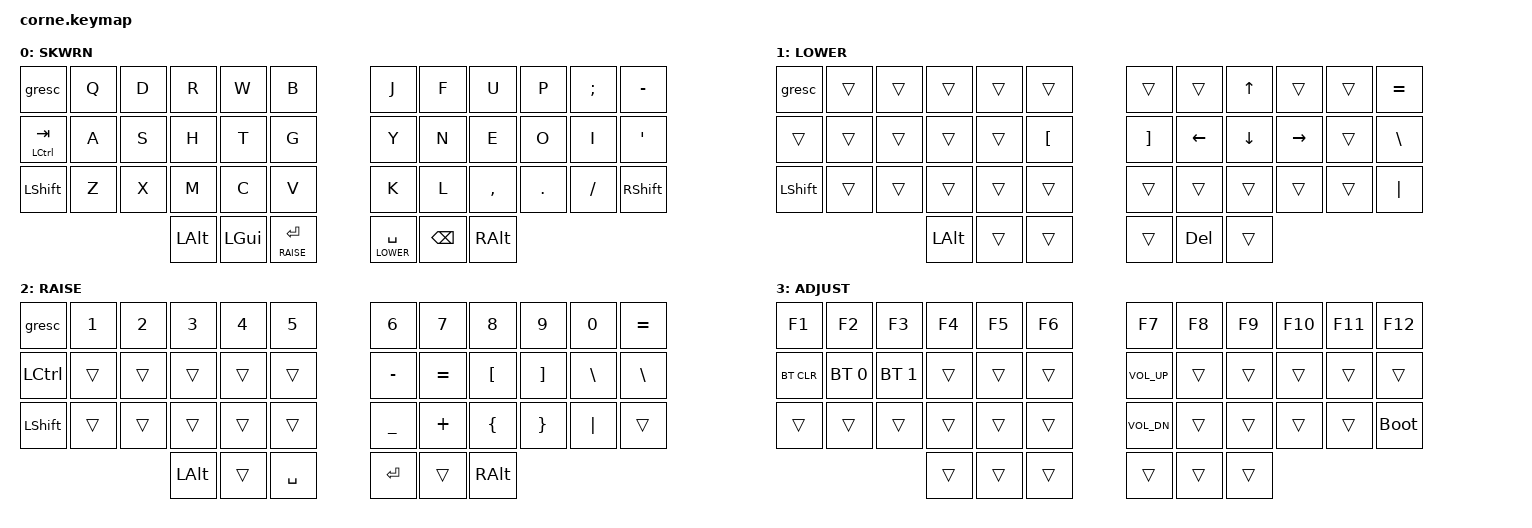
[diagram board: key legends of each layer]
/*
 * Copyright (c) 2020 The ZMK Contributors
 *
 * SPDX-License-Identifier: MIT
 */

#include <behaviors.dtsi>
#include <dt-bindings/zmk/keys.h>
#include <dt-bindings/zmk/bt.h>

#define SKWRN 0
#define LOWER   1
#define RAISE   2
#define ADJUST  3

&lt {
    quick_tap_ms = <200>;
};

/ {
        keymap {
                compatible = "zmk,keymap";

                default_layer {
                        label = "SKWRN";
                        bindings = <
   &gresc   &kp Q &kp D &kp R &kp W &kp B        &kp J &kp F  &kp U     &kp P   &kp SEMI    &kp MINUS
   &mt LCTRL TAB &kp A &kp S &kp H &kp T &kp G   &kp Y &kp N  &kp E  &kp O   &kp I &kp SQT
   &kp LSHFT &kp Z &kp X &kp M &kp C &kp V       &kp K &kp L  &kp COMMA &kp DOT &kp FSLH &kp RSHFT
                &kp LALT   &kp LGUI  &lt RAISE RET    &lt LOWER SPACE  &kp BSPC  &kp RALT
                        >;
                };
                lower_layer {
                        label = "LOWER";
                        bindings = <
   &gresc    &trans       &trans       &trans       &trans       &trans         &trans   &trans   &kp UP   &trans    &trans &kp EQUAL
   &trans &trans &trans &trans &trans &kp LBKT                                &kp RBKT &kp LEFT &kp DOWN &kp RIGHT &trans &kp BSLH
   &kp LSHFT  &trans       &trans       &trans       &trans       &trans          &trans   &trans   &trans &trans    &trans &kp PIPE
                          	        &kp LALT     &trans       &trans      &trans  &kp DEL   &trans
                        >;
                };

                raise_layer {
                        label = "RAISE";
                        bindings = <
   &gresc    &kp N1       &kp N2       &kp N3       &kp N4       &kp N5         &kp N6   &kp N7   &kp N8 &kp N9    &kp N0 &kp EQUAL
   &kp LCTRL &trans   &trans &trans   &trans   &trans      &kp MINUS &kp EQUAL &kp LBKT        &kp RBKT &kp BSLH &kp BACKSLASH
   &kp LSHFT &trans   &trans &trans   &trans   &trans      &kp UNDER &kp PLUS  &kp LBRC        &kp RBRC &kp PIPE &trans
                    	     &kp LALT &trans   &kp SPACE   &kp RET   &trans    &kp RALT
                        >;
                };

                adjust_layer {
                        label = "ADJUST";
                        bindings = <
   &kp F1    &kp F2       &kp F3       &kp F4       &kp F5       &kp F6         &kp F7   &kp F8   &kp F9 &kp F10    &kp F11 &kp F12
   &bt BT_CLR &bt BT_SEL 0 &bt BT_SEL 1 &trans &trans &trans   &kp C_VOL_UP &trans &trans &trans &trans &trans
   &trans  &trans   &trans &trans   &trans   &trans              &kp C_VOL_DN    &trans  &trans        &trans &trans &bootloader
                    	     &trans &trans   &trans   &trans   &trans    &trans
                        >;
                };
        };
};

/ {
    conditional_layers {
        compatible = "zmk,conditional-layers";
        tri_layer {
            if-layers = <1 2>;
            then-layer = <3>;
        };
    };
};

/ {
    chosen {
      zmk,battery = &vbatt;
    };

    vbatt: vbatt {
        compatible = "zmk,battery-nrf-vddh";
        label = "VBATT";
    };
};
